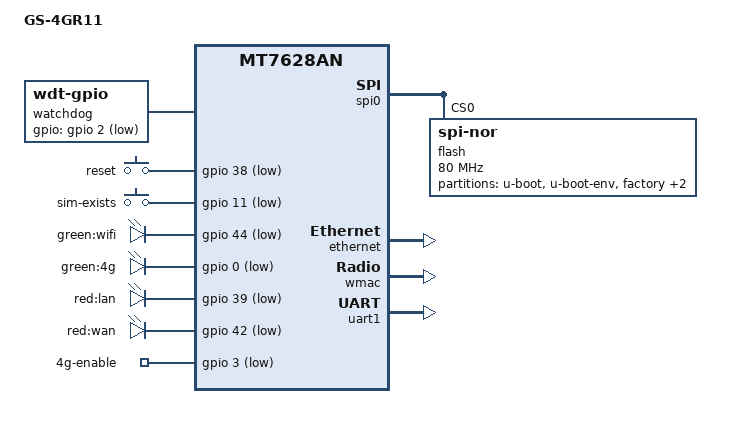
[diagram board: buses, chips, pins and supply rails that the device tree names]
#include "mt7628an.dtsi"

#include <dt-bindings/gpio/gpio.h>
#include <dt-bindings/input/input.h>

/ {
	compatible = "gainstrong,gs-4gr11", "mediatek,mt7628an-soc";
	model = "GS-4GR11";

	aliases {
		led-boot = &led_system;
		led-failsafe = &led_system;
		led-upgrade = &led_system;
	};

	watchdog {
		compatible = "linux,wdt-gpio";
		gpios = <&gpio 2 1>;
		hw_algo = "toggle";
		hw_margin_ms = <1600>;
		always-running = <1>;
		status = "okay";
	};

	keys {
		compatible = "gpio-keys";

		reset {
			label = "reset";
			gpios = <&gpio 38 GPIO_ACTIVE_LOW>;
			linux,code = <KEY_RESTART>;
		};

		sim-exists {
			label = "sim-exists";
			gpios = <&gpio 11 1>;
			linux,code = <KEY_PHONE>;
		};
	};

	leds {
		compatible = "gpio-leds";

		led_system: wifi {
			label = "green:wifi";
			gpios = <&gpio 44 GPIO_ACTIVE_LOW>;
		};

		4g {
			label = "green:4g";
			gpios = <&gpio 0 GPIO_ACTIVE_LOW>;
		};

		lan {
			label = "red:lan";
			gpios = <&gpio 39 GPIO_ACTIVE_LOW>;
		};

		wan {
			label = "red:wan";
			gpios = <&gpio 42 GPIO_ACTIVE_LOW>;
		};
	};

	gpio-export {
		compatible = "gpio-export";
		#size-cells = <0>;

		4g-enable {
			gpio-export,name = "4g-enable";
			gpio-export,output = <1>;
			gpios = <&gpio 3 GPIO_ACTIVE_LOW>;
		};
	};

};

&state_default {
	gpio {
		groups = "gpio", "wdt", "i2s","wled_an", "p1led_an", "p4led_an";
		function = "gpio";
	};
};

&spi0 {
	status = "okay";

	flash@0 {
		compatible = "jedec,spi-nor";
		reg = <0>;
		spi-max-frequency = <80000000>;

		partitions {
			compatible = "fixed-partitions";
			#address-cells = <1>;
			#size-cells = <1>;

			partition@0 {
				label = "u-boot";
				reg = <0x0 0x30000>;
				read-only;
			};

			partition@30000 {
				label = "u-boot-env";
				reg = <0x30000 0x10000>;
			};

			factory: partition@40000 {
				label = "factory";
				reg = <0x40000 0x10000>;
				read-only;
			};

			partition@50000 {
				compatible = "denx,uimage";
				reg = <0x50000 0x0>;
				label = "firmware";
			};

			all {
				reg = <0x0 0x0>;
				label = "all";
			};
		};
	};
};

&ethernet {
	status = "okay";

	nvmem-cells = <&macaddr_factory_4>;
	nvmem-cell-names = "mac-address";
	mac-address-increment = <1>;
};

&factory {
	compatible = "nvmem-cells";
	#address-cells = <1>;
	#size-cells = <1>;

	macaddr_factory_4: macaddr@4 {
		reg = <0x4 0x6>;
	};
};

&wmac {
	status = "okay";
	mediatek,mtd-eeprom = <&factory 0x0>;
};

&uart1 {
	status = "okay";
};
